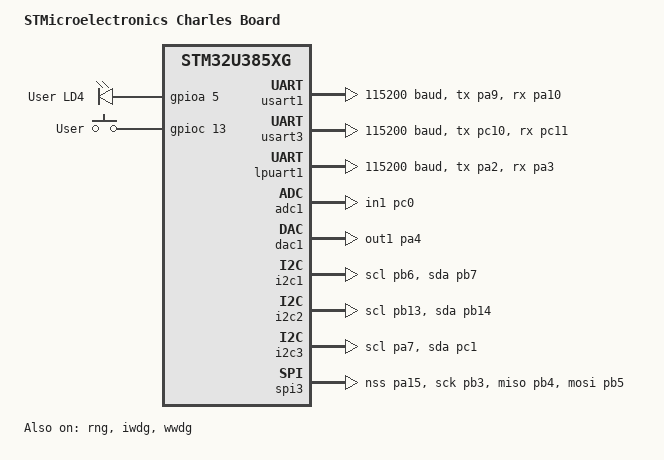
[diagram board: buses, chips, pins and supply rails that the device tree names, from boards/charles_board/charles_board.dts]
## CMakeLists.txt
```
cmake_minimum_required(VERSION 3.20.0)

find_package(Zephyr REQUIRED)
project(my_zephyr_app)

target_include_directories(app PRIVATE ${CMAKE_CURRENT_SOURCE_DIR}/include)

target_sources(app PRIVATE src/main.cpp)

add_subdirectory(drivers/our_sensorled)
```

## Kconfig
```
menuconfig LED_SUBSYSTEM
    bool "LED Subsystem"
    default y

if LED_SUBSYSTEM

choice
    prompt "LED blink sleep time"
    default BLINK_SLEEP_MEDIUM

config BLINK_SLEEP_FAST
    bool "250ms (fast)"

config BLINK_SLEEP_MEDIUM
    bool "1s (medium)"

config BLINK_SLEEP_SLOW
    bool "2s (slow)"

endchoice

menuconfig LED_ADVANCED_SETTINGS
    bool "Advanced LED settings"
    default n

if LED_ADVANCED_SETTINGS

config LED_BRIGHTNESS
    int "LED brightness (0-100)"
    range 0 100
    default 100

config LED_FADE_TIME_MS
    int "LED fade duration (ms)"
    range 0 5000
    default 500

menu "Expert settings"

    config LED_DEBUG
    bool "Enable LED debugging"
    default n

    config LED_CUSTOM_BLINKING
        bool "Custom blink pattern"
        default n
    
endmenu
    
endif # LED_ADVANCED_SETTINGS

endif # LED_SUBSYSTEM


config BLINK_SLEEP_TIME_MS
    int
    default 250 if BLINK_SLEEP_FAST
    default 1000 if BLINK_SLEEP_MEDIUM
    default 2000 if BLINK_SLEEP_SLOW
    default 0

source "Kconfig.zephyr"
```

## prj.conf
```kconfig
CONFIG_GPIO=y
CONFIG_LOG=y
CONFIG_DEBUG_THREAD_INFO=y
CONFIG_SHELL=y
CONFIG_SHELL_BACKEND_SERIAL=y
```

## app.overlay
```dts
/ {
	our_sensorled0: our_sensorled {
		compatible = "our,sensorled";
		gpios = <&gpioa 5 GPIO_ACTIVE_HIGH>;
		status = "okay";
	};
};
```

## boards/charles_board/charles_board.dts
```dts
/*
 * Copyright (c) 2025 STMicroelectronics
 *
 * SPDX-License-Identifier: Apache-2.0
 */

/dts-v1/;
#include <st/u3/stm32u385Xg.dtsi>
#include <st/u3/stm32u385rgtxq-pinctrl.dtsi>
#include <zephyr/dt-bindings/input/input-event-codes.h>

/ {
	model = "STMicroelectronics Charles Board";
	compatible = "charles,charles_board";

	chosen {
		zephyr,console = &usart1;
		zephyr,shell-uart = &usart1;
		zephyr,sram = &sram0;
		zephyr,flash = &flash0;
		zephyr,code-partition = &slot0_partition;
	};

	leds: leds {
		compatible = "gpio-leds";

		green_led_2: led_2 {
			gpios = <&gpioa 5 GPIO_ACTIVE_HIGH>;
			label = "User LD4";
		};
	};

	gpio_keys {
		compatible = "gpio-keys";

		user_button: button {
			label = "User";
			gpios = <&gpioc 13 GPIO_ACTIVE_HIGH>;
			zephyr,code = <INPUT_KEY_0>;
		};
	};

	aliases {
		led0 = &green_led_2;
		sw0 = &user_button;
		watchdog0 = &iwdg;
	};
};

&flash0 {
	partitions {
		compatible = "fixed-partitions";
		#address-cells = <1>;
		#size-cells = <1>;

		/*
		 * The following partitioning is dedicated to the use of nucleo_u385rg_q
		 * with TZEN=0 (i.e., without TF-M).
		 * Place partitions within first 512 KiB to make use of the whole Bank1.
		 */
		boot_partition: partition@0 {
			label = "mcuboot";
			reg = <0x00000000 DT_SIZE_K(64)>;
		};

		slot0_partition: partition@10000 {
			label = "image-0";
			reg = <0x00010000 DT_SIZE_K(192)>;
		};

		slot1_partition: partition@40000 {
			label = "image-1";
			reg = <0x00040000 DT_SIZE_K(192)>;
		};

		storage_partition: partition@70000 {
			label = "storage";
			reg = <0x00070000 DT_SIZE_K(64)>;
		};
	};
};

&usart1 {
	pinctrl-0 = <&usart1_tx_pa9 &usart1_rx_pa10>;
	pinctrl-names = "default";
	current-speed = <115200>;
	status = "okay";
};

&usart3 {
	pinctrl-0 = <&usart3_tx_pc10 &usart3_rx_pc11>;
	pinctrl-names = "default";
	current-speed = <115200>;
	status = "okay";
};

&lpuart1 {
	pinctrl-0 = <&lpuart1_tx_pa2 &lpuart1_rx_pa3>;
	pinctrl-names = "default";
	current-speed = <115200>;
	status = "okay";
};

&clk_hsi {
	status = "okay";
};

&clk_lse {
	status = "okay";
};

&clk_msis {
	status = "okay";
	msi-pll-mode;
	msi-range = <0>; /* 96MHz (reset value) */
};

&rcc {
	clocks = <&clk_msis>;
	clock-frequency = <DT_FREQ_M(96)>;
	ahb-prescaler = <1>;
	apb1-prescaler = <1>;
	apb2-prescaler = <1>;
	apb3-prescaler = <1>;
};

&clk_lsi {
	status = "okay";
};

&adc1 {
	pinctrl-0 = <&adc1_in1_pc0>;
	pinctrl-names = "default";
	status = "okay";
};

&dac1 {
	status = "okay";
	pinctrl-0 = <&dac1_out1_pa4>;
	pinctrl-names = "default";
};

&i2c1 {
	pinctrl-0 = <&i2c1_scl_pb6 &i2c1_sda_pb7>;
	pinctrl-names = "default";
	status = "okay";
};

&i2c2 {
	pinctrl-0 = <&i2c2_scl_pb13 &i2c2_sda_pb14>;
	pinctrl-names = "default";
	status = "okay";
};

&i2c3 {
	pinctrl-0 = <&i2c3_scl_pa7 &i2c3_sda_pc1>;
	pinctrl-names = "default";
	status = "okay";
};

&rng {
	status = "okay";
};

&spi3 {
	pinctrl-0 = <&spi3_nss_pa15 &spi3_sck_pb3
		     &spi3_miso_pb4 &spi3_mosi_pb5>;
	pinctrl-names = "default";
	status = "okay";
};

&iwdg {
	status = "okay";
};

&wwdg {
	status = "okay";
};
```

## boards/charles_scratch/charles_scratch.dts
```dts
/*
 * Charles' scratch board from stm32u385rgtxq.
 */
/dts-v1/;
#include <st/u3/stm32u385Xg.dtsi>
#include <st/u3/stm32u385rgtxq-pinctrl.dtsi>
#include <zephyr/dt-bindings/input/input-event-codes.h>
/{
	model = "Charles Scratch Board";
	compatible = "charles,charles_scratch";

	chosen {
		zephyr,console = &usart1;
		zephyr,shell-uart = &usart1;
		zephyr,sram = &sram0;
		zephyr,flash = &flash0;
		zephyr,code-partition = &slot0_partition;
	};

	leds: leds {
		compatible = "gpio-leds";
		
		green_led_2: led_2 {
			gpios = <&gpioa 5 GPIO_ACTIVE_HIGH>;
			label = "User LED";
		};
	};
	
	aliases {
		led0 = &green_led_2;
	};
};

&flash0 {
	partitions {
		compatible = "fixed-partitions";
		#address-cells = <1>;
		#size-cells = <1>;

		boot_partition: partition@0 {
			label = "mcuboot";
			reg = <0x00000000 DT_SIZE_K(64)>;
		};

		slot0_partition: partition@10000 {
			label = "image-0";
			reg = <0x00010000 DT_SIZE_K(192)>;
		};

	};
};

&usart1 {
	pinctrl-0 = <&usart1_tx_pa9 &usart1_rx_pa10>;
	pinctrl-names = "default";
	current-speed = <115200>;
	status = "okay";
};

&clk_hsi {
	status = "okay";
};

&clk_lse {
	status = "okay";
};

&clk_lsi {
	status = "okay";
};

&clk_msis {
	status = "okay";
        msi-pll-mode;
        msi-range = <0>; /* 96MHz (reset value) */
};

&rcc {
	clocks = <&clk_msis>;
	clock-frequency = <DT_FREQ_M(96)>;
	ahb-prescaler = <1>;
	apb1-prescaler = <1>;
	apb2-prescaler = <1>;
	apb3-prescaler = <1>;

};
```

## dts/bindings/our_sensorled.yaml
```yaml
description: Our sensor led driver binding
compatible: "our,sensorled"
include: base.yaml
properties:
    gpios:
        type: phandle-array
        required: true
        description: The gpio driving the LED for our sensorled
```

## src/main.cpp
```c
#include <zephyr/drivers/gpio.h>
#include <zephyr/drivers/sensor.h>
#include <zephyr/kernel.h>
#include <zephyr/logging/log.h>
#include <our_drivers/our_sensorled.h>

int our_sensorled_get_count(const struct device *dev, uint32_t *value);
int our_sensorled_set_count(const struct device *dev, uint32_t value);

#define SLEEP_TIME_MS 50000

/* The devicetree node identifier for the "led0" alias. */
#define LED_NODE DT_ALIAS(led0)

static const struct gpio_dt_spec led = GPIO_DT_SPEC_GET(LED_NODE, gpios);

LOG_MODULE_REGISTER(main, LOG_LEVEL_INF);

static int sensorled_test(void)
{
    const struct device *sensorled = DEVICE_DT_GET(DT_NODELABEL(our_sensorled0));
    struct sensor_value val;
    int ret;
    uint32_t fetch_count;

    if (!device_is_ready(sensorled)) {
	LOG_INF("sensorled: device not ready.\n");
	return 0;
    }
    while(1) {
        ret = our_sensorled_get_count(sensorled, &fetch_count);
        LOG_INF("sensor_get_count ret %d, value %u", ret, fetch_count);
        /*
         *The fetch count counts up every time a fetch is done.
         * We fiddle with the fetch count by setting it, so that it counts from
         * 10 to 20 then hops to 50 to 60 then back again.
         */
        if (fetch_count < 10 || fetch_count >= 60)
            ret = our_sensorled_set_count(sensorled, 10);
        else if (fetch_count >= 20 && fetch_count < 50)
            ret = our_sensorled_set_count(sensorled, 50);
        
        
        ret = sensor_sample_fetch(sensorled);
        LOG_INF("sensor_sample_fetch() returned %d", ret);
        k_msleep(SLEEP_TIME_MS);
        ret = sensor_channel_get(sensorled, SENSOR_CHAN_AMBIENT_TEMP, &val);
        LOG_INF("sensor_channel_get() returned %d", ret);
        k_msleep(SLEEP_TIME_MS);
    }

    return 0;
}

int main(void)
{
    return sensorled_test();

#if 0
    bool led_state = true;

    if (!gpio_is_ready_dt(&led)) return 0;

    if (gpio_pin_configure_dt(&led, GPIO_OUTPUT_ACTIVE) < 0) return 0;

    while (1) {
        if (gpio_pin_toggle_dt(&led) < 0) return 0;
        k_msleep(SLEEP_TIME_MS/8);
        if (gpio_pin_toggle_dt(&led) < 0) return 0;
        k_msleep(SLEEP_TIME_MS/8);
        if (gpio_pin_toggle_dt(&led) < 0) return 0;
        k_msleep(SLEEP_TIME_MS/8);
        if (gpio_pin_toggle_dt(&led) < 0) return 0;

        led_state = !led_state;
        LOG_INF("LED state: %s", led_state ? "ON" : "OFF");
        k_msleep(SLEEP_TIME_MS);
    }
#endif
    return 0;
}
```
